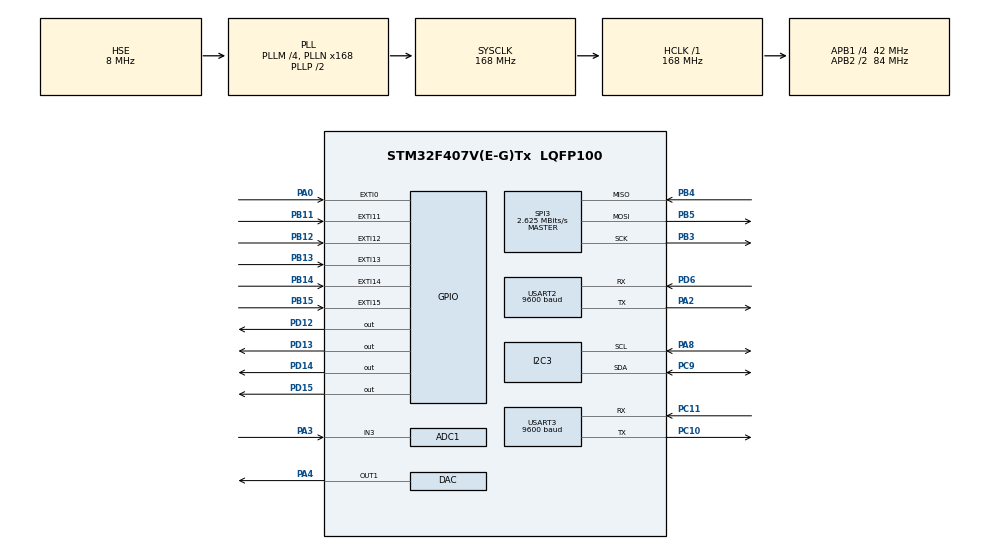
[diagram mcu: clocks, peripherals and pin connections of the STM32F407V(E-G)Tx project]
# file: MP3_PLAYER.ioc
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ADC1.Channel-0\#ChannelRegularConversion=ADC_CHANNEL_3
ADC1.NbrOfConversionFlag=1
ADC1.Rank-0\#ChannelRegularConversion=1
ADC1.SamplingTime-0\#ChannelRegularConversion=ADC_SAMPLETIME_3CYCLES
ADC1.master=1
DAC.DAC_Trigger=DAC_TRIGGER_T6_TRGO
Dma.DAC1.0.Direction=DMA_MEMORY_TO_PERIPH
Dma.DAC1.0.FIFOMode=DMA_FIFOMODE_DISABLE
Dma.DAC1.0.Instance=DMA1_Stream5
Dma.DAC1.0.MemDataAlignment=DMA_MDATAALIGN_BYTE
Dma.DAC1.0.MemInc=DMA_MINC_ENABLE
Dma.DAC1.0.Mode=DMA_CIRCULAR
Dma.DAC1.0.PeriphDataAlignment=DMA_PDATAALIGN_BYTE
Dma.DAC1.0.PeriphInc=DMA_PINC_DISABLE
Dma.DAC1.0.Priority=DMA_PRIORITY_LOW
Dma.Request0=DAC1
I2C3.NoStretchMode=I2C_NOSTRETCH_DISABLE
Mcu.Family=STM32F4
Mcu.Name=STM32F407V(E-G)Tx
Mcu.Package=LQFP100
NVIC.ADC_IRQn=true\:1\:0\:true\:false\:true\:true\:true
NVIC.DMA1_Stream5_IRQn=true\:0\:0\:false\:false\:true\:false\:true
NVIC.EXTI0_IRQn=true\:1\:0\:true\:false\:true\:true\:true
NVIC.EXTI15_10_IRQn=true\:1\:0\:true\:false\:true\:true\:true
NVIC.I2C3_ER_IRQn=true\:0\:0\:false\:false\:true\:true\:true
NVIC.I2C3_EV_IRQn=true\:0\:0\:false\:false\:true\:true\:true
NVIC.PVD_IRQn=true\:0\:0\:false\:false\:true\:true\:true
NVIC.PriorityGroup=NVIC_PRIORITYGROUP_4
NVIC.SPI3_IRQn=true\:0\:0\:false\:false\:true\:true\:true
NVIC.TIM4_IRQn=true\:0\:0\:false\:false\:true\:true\:true
NVIC.TIM6_DAC_IRQn=true\:0\:0\:false\:false\:true\:true\:true
NVIC.USART2_IRQn=true\:1\:0\:true\:false\:true\:true\:true
PA0-WKUP.GPIO_PuPd=GPIO_PULLDOWN
PA0-WKUP.Signal=GPXTI0
PA13.Mode=Serial_Wire
PA13.Signal=SYS_JTMS-SWDIO
PA14.Mode=Serial_Wire
PA14.Signal=SYS_JTCK-SWCLK
PA2.Mode=Asynchronous
PA2.Signal=USART2_TX
PA3.Signal=ADCx_IN3
PA4.Signal=COMP_DAC1_group
PA8.Mode=I2C
PA8.Signal=I2C3_SCL
PB11.GPIO_ModeDefaultEXTI=GPIO_MODE_IT_RISING_FALLING
PB11.GPIO_PuPd=GPIO_PULLUP
PB11.Signal=GPXTI11
PB12.GPIO_ModeDefaultEXTI=GPIO_MODE_IT_RISING_FALLING
PB12.GPIO_PuPd=GPIO_PULLUP
PB12.Signal=GPXTI12
PB13.GPIO_ModeDefaultEXTI=GPIO_MODE_IT_RISING_FALLING
PB13.GPIO_PuPd=GPIO_PULLUP
PB13.Signal=GPXTI13
PB14.GPIO_ModeDefaultEXTI=GPIO_MODE_IT_RISING_FALLING
PB14.GPIO_PuPd=GPIO_PULLUP
PB14.Signal=GPXTI14
PB15.GPIO_ModeDefaultEXTI=GPIO_MODE_IT_RISING_FALLING
PB15.GPIO_PuPd=GPIO_PULLUP
PB15.Signal=GPXTI15
PB3.Mode=Full_Duplex_Master
PB3.Signal=SPI3_SCK
PB4.Mode=Full_Duplex_Master
PB4.Signal=SPI3_MISO
PB5.Mode=Full_Duplex_Master
PB5.Signal=SPI3_MOSI
PC10.Mode=Asynchronous
PC10.Signal=USART3_TX
PC11.Mode=Asynchronous
PC11.Signal=USART3_RX
PC9.Mode=I2C
PC9.Signal=I2C3_SDA
PD12.Signal=GPIO_Output
PD13.Signal=GPIO_Output
PD14.Signal=GPIO_Output
PD15.Signal=GPIO_Output
PD6.Mode=Asynchronous
PD6.Signal=USART2_RX
PH0-OSC_IN.Mode=HSE-External-Oscillator
PH0-OSC_IN.Signal=RCC_OSC_IN
PH1-OSC_OUT.Mode=HSE-External-Oscillator
PH1-OSC_OUT.Signal=RCC_OSC_OUT
ProjectManager.HeapSize=0x200
ProjectManager.StackSize=0x400
ProjectManager.TargetToolchain=STM32CubeIDE
RCC.48MHZClocksFreq_Value=84000000
RCC.AHBFreq_Value=168000000
RCC.APB1CLKDivider=RCC_HCLK_DIV4
RCC.APB1Freq_Value=42000000
RCC.APB1TimFreq_Value=84000000
RCC.APB2CLKDivider=RCC_HCLK_DIV2
RCC.APB2Freq_Value=84000000
RCC.APB2TimFreq_Value=168000000
RCC.CortexFreq_Value=168000000
RCC.HCLKFreq_Value=168000000
RCC.HSE_VALUE=8000000
RCC.HSI_VALUE=16000000
RCC.LSE_VALUE=32768
RCC.PLLM=4
RCC.PLLN=168
RCC.PLLSourceVirtual=RCC_PLLSOURCE_HSE
RCC.SYSCLKFreq_VALUE=168000000
RCC.SYSCLKSource=RCC_SYSCLKSOURCE_PLLCLK
RCC.VCOOutputFreq_Value=336000000
SH.ADCx_IN3.0=ADC1_IN3,IN3
SH.COMP_DAC1_group.0=DAC_OUT1,DAC_OUT1
SPI3.BaudRatePrescaler=SPI_BAUDRATEPRESCALER_16
SPI3.CalculateBaudRate=2.625 MBits/s
SPI3.Direction=SPI_DIRECTION_2LINES
SPI3.Mode=SPI_MODE_MASTER
SPI3.VirtualType=VM_MASTER
TIM4.Period=126
TIM4.Prescaler=14
TIM6.Period=126
TIM6.Prescaler=14
TIM6.TIM_MasterOutputTrigger=TIM_TRGO_UPDATE
USART2.BaudRate=9600
USART2.VirtualMode=VM_ASYNC
USART3.BaudRate=9600
USART3.VirtualMode=VM_ASYNC
VP_TIM4_VS_ClockSourceINT.Mode=Internal
VP_TIM6_VS_ClockSourceINT.Mode=Enable_Timer
board=custom

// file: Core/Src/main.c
/* USER CODE BEGIN Header */
/**
  ******************************************************************************
  * @file           : main.c
  * @brief          : Main program body
  ******************************************************************************
  * @attention
  *
  * <h2><center>&copy; Copyright (c) 2020 STMicroelectronics.
  * All rights reserved.</center></h2>
  *
  * This software component is licensed by ST under BSD 3-Clause license,
  * the "License"; You may not use this file except in compliance with the
  * License. You may obtain a copy of the License at:
  *                        opensource.org/licenses/BSD-3-Clause
  *
  ******************************************************************************
  */
/* USER CODE END Header */

#include "main.h"

/* USER CODE BEGIN Includes */
#include "string.h"
#include <stdio.h>
#include"ff.h"
#include "lcd.h"
#include "lcdcommands.h"
#include "lcdchars.h"

#include "stdbool.h"

/* USER CODE END Includes */

ADC_HandleTypeDef hadc1;

DAC_HandleTypeDef hdac;
DMA_HandleTypeDef hdma_dac1;

I2C_HandleTypeDef hi2c3;

SPI_HandleTypeDef hspi3;

TIM_HandleTypeDef htim4;
TIM_HandleTypeDef htim6;

UART_HandleTypeDef huart2;
UART_HandleTypeDef huart3;

/* USER CODE BEGIN PV */

static FATFS FatFs;    //uchwyt do urządzenia FatFs (dysku, karty SD...)
FRESULT fresult;  //do przechowywania wyniku operacji na bibliotece

volatile FIL file;
WORD bytes_written;

WORD bytes_read;           //liczba odczytanych byte

uint8_t sendUART[2] = {65, 'B'};
uint16_t sizeSendUART = 2;
uint8_t receiveUART[1];
uint16_t sizeReceiveUART = 1;
int i=0;
int j=-1;
uint8_t indeks_glosnosci = 0;
double glosnosc_guziczki [10] = {0,0.25,0.5,1,2,4,8,10,15,20};
uint16_t value = 0;
DIR dir;

uint8_t eof;
char utwor[20];

char buff[256];
int stan = 1; //0 pauza 1 start

uint16_t nr_utworu=0;

volatile uint8_t buf[100000];
volatile uint8_t buf2[22047];
uint8_t aktualny_bufor = 0;

/* USER CODE END PV */

void SystemClock_Config(void);
static void MX_DMA_Init(void);
static void MX_ADC1_Init(void);
static void MX_DAC_Init(void);
static void MX_SPI3_Init(void);
static void MX_USART3_UART_Init(void);
static void MX_TIM6_Init(void);
static void MX_TIM4_Init(void);
static void MX_I2C3_Init(void);
static void MX_USART2_UART_Init(void);
/* USER CODE BEGIN PFP */

void read_song(){

FRESULT res;
    DIR dir;
    UINT i=0;
    UINT z;

    static FILINFO fno;

		res = f_opendir(&dir, "/");
    	if (res == FR_OK) {
  	  	  	do{
            		res = f_readdir(&dir, &fno);
            		if (res != FR_OK || fno.fname[0] == 0) {i=1; break;}
            		printf("%s\n", fno.fname);
                	z = strlen(fno.fname);
                	i++;
            	}
            	while(i<=nr_utworu || (fno.fname[z-1]!='V') || (fno.fname[z-2]!='A')|| (fno.fname[z-3]!='W'));
  	  	  		sprintf(utwor,"%s",fno.fname);
  	  	  		nr_utworu=i-1;
  	  	  		if(nr_utworu==0)read_song();
            	}

               	return;
}

void next(){
	HAL_TIM_Base_Stop_IT(&htim4);
	f_close(&file);
	nr_utworu++;
	read_song();
	fresult = f_open(&file, &utwor , FA_READ|FA_OPEN_EXISTING);
	f_read(&file, &buf, 22047, &bytes_read);
	i=0;
	j=0;
	 HAL_TIM_Base_Start_IT(&htim4);
}

void prev(){
	HAL_TIM_Base_Stop_IT(&htim4);
	f_close(&file);
	nr_utworu--;
	read_song();
	fresult = f_open(&file, &utwor , FA_READ|FA_OPEN_EXISTING);
	f_read(&file, &buf, 22047, &bytes_read);
	i=0;
	j=0;
	HAL_TIM_Base_Start_IT(&htim4);
}

void HAL_ADC_ConvCpltCallback(ADC_HandleTypeDef* hadc){

		  		  value = HAL_ADC_GetValue(&hadc1);

//za pierwszym ustawieniem potencjometru działa ale potem się nie zmienia
		  	  if(value>0 && value <= 410) indeks_glosnosci = 0;
		  	  else if(value>410 && value <= 819) indeks_glosnosci = 1;
		  	  else if(value>819 && value <= 1228) indeks_glosnosci = 2;
		  	else if(value>1228 && value <= 1647) indeks_glosnosci = 3;
		  	else if(value>1647 && value <= 2058) indeks_glosnosci = 4;
		  	else if(value>2058 && value <= 2467) indeks_glosnosci = 5;
		  	else if(value>2467 && value <= 2876) indeks_glosnosci = 6;
		  	else if(value>2876 && value <= 3285) indeks_glosnosci = 7;
		  	else if(value>3285 && value <= 3692) indeks_glosnosci = 8;
		  	else if(value>3692 && value <= 4095) indeks_glosnosci = 9;
		  	HAL_ADC_Start_IT(&hadc1);
}

void HAL_GPIO_EXTI_Callback(uint16_t GPIO_Pin){

	 if(HAL_GPIO_ReadPin(GPIOB, GPIO_PIN_11) == GPIO_PIN_RESET){

		 //ciszej

		 if(indeks_glosnosci>0 && indeks_glosnosci<=9) indeks_glosnosci--;

		  	}

	 if(HAL_GPIO_ReadPin(GPIOB, GPIO_PIN_12) == GPIO_PIN_RESET){
			  		//prev song
		prev();

			}
	 if(HAL_GPIO_ReadPin(GPIOB, GPIO_PIN_13) == GPIO_PIN_RESET){

		 //pause/start

		 if(stan==1){

		HAL_DAC_Start_DMA(&hdac, DAC_CHANNEL_1, &buf, 100000, DAC_ALIGN_12B_R);
		HAL_TIM_Base_Start(&htim6);
		 //HAL_TIM_Base_Start_IT(&htim4);
		 //HAL_TIM_Base_Start_IT(&htim7);
		 stan = 0;
		 }
		 else
		 {
			 HAL_TIM_Base_Stop_IT(&htim4);
			 stan=1;
		 }

	 		}
	 if(HAL_GPIO_ReadPin(GPIOB, GPIO_PIN_14) == GPIO_PIN_RESET){
		 	next();

		 	}
	 if(HAL_GPIO_ReadPin(GPIOB, GPIO_PIN_15) == GPIO_PIN_RESET){

		 //glosniej

		 if(indeks_glosnosci>=0 && indeks_glosnosci<9)
			 indeks_glosnosci++;
			 	}
	 HAL_Delay(200);

}

void HAL_TIM_PeriodElapsedCallback(TIM_HandleTypeDef *htim){
	if(htim->Instance == TIM4)
	{
		eof=f_eof(&file);
		if(eof ==0) f_read(&file, &buf,2048, &bytes_read);
		else {next();}

		/*if(aktualny_bufor==0){
			HAL_DAC_SetValue(&hdac,DAC_CHANNEL_1,DAC_ALIGN_12B_R,buf[i]);
			//eof=f_eof(&file);
		//	if(eof ==0) f_read(&file, &buf2[i],1, &bytes_read);
			//else {next();}
			i++;
			if(i==22047){
				aktualny_bufor = 1;
				j=0;
				//HAL_TIM_Base_Start_IT(&htim7);*glosnosc_guziczki[indeks_glosnosci]
				}
			}

	if(aktualny_bufor==1){
		HAL_DAC_SetValue(&hdac,DAC_CHANNEL_1,DAC_ALIGN_12B_R,buf2[j]);
	//	eof=f_eof(&file);
	//	if(eof ==0) f_read(&file, &buf[j],1, &bytes_read);
	//	else {next();}
		j++;
		if(j==22047){
			aktualny_bufor = 0;
			i=0;
			//HAL_TIM_Base_Start_IT(&htim7);
			}
		}*/

  }

}

void HAL_UART_RxCpltCallback(UART_HandleTypeDef*huart)
	{
		if(huart->Instance == USART2)
			{

			HAL_UART_Receive_IT(&huart2, receiveUART, sizeReceiveUART);
			if(receiveUART[0]==79){
				HAL_GPIO_TogglePin(GPIOD, GPIO_PIN_13);
			}
			}
	}

/* USER CODE END PFP */

int main(void)
{

  /* MCU Configuration--------------------------------------------------------*/

  /* Reset of all peripherals, Initializes the Flash interface and the Systick. */
  HAL_Init();

  /* Configure the system clock */
  SystemClock_Config();

  /* Initialize all configured peripherals */
  MX_DMA_Init();
  MX_ADC1_Init();
  MX_DAC_Init();
  MX_SPI3_Init();
  MX_USART3_UART_Init();
  MX_TIM6_Init();
  MX_TIM4_Init();
  MX_I2C3_Init();
  MX_USART2_UART_Init();
  /* USER CODE BEGIN 2 */

  //HAL_DAC_Start(&hdac,DAC_CHANNEL_1);
  HAL_ADC_Start_IT(&hadc1);

  HAL_UART_Transmit_IT(&huart2, sendUART, sizeSendUART);

  	  fresult = f_mount(&FatFs, "", 1);
      read_song();
      fresult = f_open(&file, &utwor , FA_READ|FA_OPEN_EXISTING|FA_OPEN_ALWAYS);

      //f_read(&file, &buf, 62000, &bytes_read);
      //f_read(&file, &buf2,62000, &bytes_read);

      f_read(&file, &buf, 100000, &bytes_read);
    //  f_read(&file, &buf2,22047, &bytes_read);

      lcd_init();
    //  lcd_send_string("Hello");
  /* USER CODE END 2 */

  /* Infinite loop */
  /* USER CODE BEGIN WHILE */
      while (1)
  {

    lcd_send_string("Hello");
    //lcd_send_cmd(0x80 | 0x03);
    lcd_send_string("Space Invaders");
    /* USER CODE END WHILE */

  }
}

void SystemClock_Config(void)
{
  RCC_OscInitTypeDef RCC_OscInitStruct = {0};
  RCC_ClkInitTypeDef RCC_ClkInitStruct = {0};

  /** Configure the main internal regulator output voltage
  */
  __HAL_RCC_PWR_CLK_ENABLE();
  __HAL_PWR_VOLTAGESCALING_CONFIG(PWR_REGULATOR_VOLTAGE_SCALE1);
  /** Initializes the CPU, AHB and APB busses clocks
  */
  RCC_OscInitStruct.OscillatorType = RCC_OSCILLATORTYPE_HSE;
  RCC_OscInitStruct.HSEState = RCC_HSE_ON;
  RCC_OscInitStruct.PLL.PLLState = RCC_PLL_ON;
  RCC_OscInitStruct.PLL.PLLSource = RCC_PLLSOURCE_HSE;
  RCC_OscInitStruct.PLL.PLLM = 4;
  RCC_OscInitStruct.PLL.PLLN = 168;
  RCC_OscInitStruct.PLL.PLLP = RCC_PLLP_DIV2;
  RCC_OscInitStruct.PLL.PLLQ = 4;
  if (HAL_RCC_OscConfig(&RCC_OscInitStruct) != HAL_OK)
  {
    Error_Handler();
  }
  /** Initializes the CPU, AHB and APB busses clocks
  */
  RCC_ClkInitStruct.ClockType = RCC_CLOCKTYPE_HCLK|RCC_CLOCKTYPE_SYSCLK
                              |RCC_CLOCKTYPE_PCLK1|RCC_CLOCKTYPE_PCLK2;
  RCC_ClkInitStruct.SYSCLKSource = RCC_SYSCLKSOURCE_PLLCLK;
  RCC_ClkInitStruct.AHBCLKDivider = RCC_SYSCLK_DIV1;
  RCC_ClkInitStruct.APB1CLKDivider = RCC_HCLK_DIV4;
  RCC_ClkInitStruct.APB2CLKDivider = RCC_HCLK_DIV2;

  if (HAL_RCC_ClockConfig(&RCC_ClkInitStruct, FLASH_LATENCY_5) != HAL_OK)
  {
    Error_Handler();
  }
}

static void MX_ADC1_Init(void)
{

  ADC_ChannelConfTypeDef sConfig = {0};

  /** Configure the global features of the ADC (Clock, Resolution, Data Alignment and number of conversion)
  */
  hadc1.Instance = ADC1;
  hadc1.Init.ClockPrescaler = ADC_CLOCK_SYNC_PCLK_DIV4;
  hadc1.Init.Resolution = ADC_RESOLUTION_12B;
  hadc1.Init.ScanConvMode = DISABLE;
  hadc1.Init.ContinuousConvMode = DISABLE;
  hadc1.Init.DiscontinuousConvMode = DISABLE;
  hadc1.Init.ExternalTrigConvEdge = ADC_EXTERNALTRIGCONVEDGE_NONE;
  hadc1.Init.ExternalTrigConv = ADC_SOFTWARE_START;
  hadc1.Init.DataAlign = ADC_DATAALIGN_RIGHT;
  hadc1.Init.NbrOfConversion = 1;
  hadc1.Init.DMAContinuousRequests = DISABLE;
  hadc1.Init.EOCSelection = ADC_EOC_SINGLE_CONV;
  if (HAL_ADC_Init(&hadc1) != HAL_OK)
  {
    Error_Handler();
  }
  /** Configure for the selected ADC regular channel its corresponding rank in the sequencer and its sample time.
  */
  sConfig.Channel = ADC_CHANNEL_3;
  sConfig.Rank = 1;
  sConfig.SamplingTime = ADC_SAMPLETIME_3CYCLES;
  if (HAL_ADC_ConfigChannel(&hadc1, &sConfig) != HAL_OK)
  {
    Error_Handler();
  }

}

static void MX_DAC_Init(void)
{

  DAC_ChannelConfTypeDef sConfig = {0};

  /** DAC Initialization
  */
  hdac.Instance = DAC;
  if (HAL_DAC_Init(&hdac) != HAL_OK)
  {
    Error_Handler();
  }
  /** DAC channel OUT1 config
  */
  sConfig.DAC_Trigger = DAC_TRIGGER_T6_TRGO;
  sConfig.DAC_OutputBuffer = DAC_OUTPUTBUFFER_ENABLE;
  if (HAL_DAC_ConfigChannel(&hdac, &sConfig, DAC_CHANNEL_1) != HAL_OK)
  {
    Error_Handler();
  }

}

static void MX_I2C3_Init(void)
{

  hi2c3.Instance = I2C3;
  hi2c3.Init.ClockSpeed = 100000;
  hi2c3.Init.DutyCycle = I2C_DUTYCYCLE_2;
  hi2c3.Init.OwnAddress1 = 0;
  hi2c3.Init.AddressingMode = I2C_ADDRESSINGMODE_7BIT;
  hi2c3.Init.DualAddressMode = I2C_DUALADDRESS_DISABLE;
  hi2c3.Init.OwnAddress2 = 0;
  hi2c3.Init.GeneralCallMode = I2C_GENERALCALL_DISABLE;
  hi2c3.Init.NoStretchMode = I2C_NOSTRETCH_DISABLE;
  if (HAL_I2C_Init(&hi2c3) != HAL_OK)
  {
    Error_Handler();
  }

}

static void MX_SPI3_Init(void)
{

  /* SPI3 parameter configuration*/
  hspi3.Instance = SPI3;
  hspi3.Init.Mode = SPI_MODE_MASTER;
  hspi3.Init.Direction = SPI_DIRECTION_2LINES;
  hspi3.Init.DataSize = SPI_DATASIZE_8BIT;
  hspi3.Init.CLKPolarity = SPI_POLARITY_LOW;
  hspi3.Init.CLKPhase = SPI_PHASE_1EDGE;
  hspi3.Init.NSS = SPI_NSS_SOFT;
  hspi3.Init.BaudRatePrescaler = SPI_BAUDRATEPRESCALER_16;
  hspi3.Init.FirstBit = SPI_FIRSTBIT_MSB;
  hspi3.Init.TIMode = SPI_TIMODE_DISABLE;
  hspi3.Init.CRCCalculation = SPI_CRCCALCULATION_DISABLE;
  hspi3.Init.CRCPolynomial = 10;
  if (HAL_SPI_Init(&hspi3) != HAL_OK)
  {
    Error_Handler();
  }

}

static void MX_TIM4_Init(void)
{

  TIM_ClockConfigTypeDef sClockSourceConfig = {0};
  TIM_MasterConfigTypeDef sMasterConfig = {0};

  htim4.Instance = TIM4;
  htim4.Init.Prescaler = 14;
  htim4.Init.CounterMode = TIM_COUNTERMODE_UP;
  htim4.Init.Period = 126;
  htim4.Init.ClockDivision = TIM_CLOCKDIVISION_DIV1;
  htim4.Init.AutoReloadPreload = TIM_AUTORELOAD_PRELOAD_DISABLE;
  if (HAL_TIM_Base_Init(&htim4) != HAL_OK)
  {
    Error_Handler();
  }
  sClockSourceConfig.ClockSource = TIM_CLOCKSOURCE_INTERNAL;
  if (HAL_TIM_ConfigClockSource(&htim4, &sClockSourceConfig) != HAL_OK)
  {
    Error_Handler();
  }
  sMasterConfig.MasterOutputTrigger = TIM_TRGO_RESET;
  sMasterConfig.MasterSlaveMode = TIM_MASTERSLAVEMODE_DISABLE;
  if (HAL_TIMEx_MasterConfigSynchronization(&htim4, &sMasterConfig) != HAL_OK)
  {
    Error_Handler();
  }

}

static void MX_TIM6_Init(void)
{

  TIM_MasterConfigTypeDef sMasterConfig = {0};

  htim6.Instance = TIM6;
  htim6.Init.Prescaler = 14;
  htim6.Init.CounterMode = TIM_COUNTERMODE_UP;
  htim6.Init.Period = 126;
  htim6.Init.AutoReloadPreload = TIM_AUTORELOAD_PRELOAD_DISABLE;
  if (HAL_TIM_Base_Init(&htim6) != HAL_OK)
  {
    Error_Handler();
  }
  sMasterConfig.MasterOutputTrigger = TIM_TRGO_UPDATE;
  sMasterConfig.MasterSlaveMode = TIM_MASTERSLAVEMODE_DISABLE;
  if (HAL_TIMEx_MasterConfigSynchronization(&htim6, &sMasterConfig) != HAL_OK)
  {
    Error_Handler();
  }

}

static void MX_USART2_UART_Init(void)
{

  huart2.Instance = USART2;
  huart2.Init.BaudRate = 9600;
  huart2.Init.WordLength = UART_WORDLENGTH_8B;
  huart2.Init.StopBits = UART_STOPBITS_1;
  huart2.Init.Parity = UART_PARITY_NONE;
  huart2.Init.Mode = UART_MODE_TX_RX;
  huart2.Init.HwFlowCtl = UART_HWCONTROL_NONE;
  huart2.Init.OverSampling = UART_OVERSAMPLING_16;
  if (HAL_UART_Init(&huart2) != HAL_OK)
  {
    Error_Handler();
  }

}

static void MX_USART3_UART_Init(void)
{

  huart3.Instance = USART3;
  huart3.Init.BaudRate = 9600;
  huart3.Init.WordLength = UART_WORDLENGTH_8B;
  huart3.Init.StopBits = UART_STOPBITS_1;
  huart3.Init.Parity = UART_PARITY_NONE;
  huart3.Init.Mode = UART_MODE_TX_RX;
  huart3.Init.HwFlowCtl = UART_HWCONTROL_NONE;
  huart3.Init.OverSampling = UART_OVERSAMPLING_16;
  if (HAL_UART_Init(&huart3) != HAL_OK)
  {
    Error_Handler();
  }

}

static void MX_DMA_Init(void)
{

  /* DMA controller clock enable */
  __HAL_RCC_DMA1_CLK_ENABLE();

  /* DMA interrupt init */
  /* DMA1_Stream5_IRQn interrupt configuration */
  HAL_NVIC_SetPriority(DMA1_Stream5_IRQn, 0, 0);
  HAL_NVIC_EnableIRQ(DMA1_Stream5_IRQn);

}

{
  GPIO_InitTypeDef GPIO_InitStruct = {0};

  /* GPIO Ports Clock Enable */
  __HAL_RCC_GPIOH_CLK_ENABLE();
  __HAL_RCC_GPIOA_CLK_ENABLE();
  __HAL_RCC_GPIOB_CLK_ENABLE();
  __HAL_RCC_GPIOD_CLK_ENABLE();
  __HAL_RCC_GPIOC_CLK_ENABLE();

  /*Configure GPIO pin Output Level */
  HAL_GPIO_WritePin(GPIOD, GPIO_PIN_12|GPIO_PIN_13|GPIO_PIN_14|GPIO_PIN_15, GPIO_PIN_RESET);

  /*Configure GPIO pin : PA0 */
  GPIO_InitStruct.Pin = GPIO_PIN_0;
  GPIO_InitStruct.Mode = GPIO_MODE_IT_RISING;
  GPIO_InitStruct.Pull = GPIO_PULLDOWN;
  HAL_GPIO_Init(GPIOA, &GPIO_InitStruct);

  /*Configure GPIO pins : PB11 PB12 PB13 PB14
                           PB15 */
  GPIO_InitStruct.Pin = GPIO_PIN_11|GPIO_PIN_12|GPIO_PIN_13|GPIO_PIN_14
                          |GPIO_PIN_15;
  GPIO_InitStruct.Mode = GPIO_MODE_IT_RISING_FALLING;
  GPIO_InitStruct.Pull = GPIO_PULLUP;
  HAL_GPIO_Init(GPIOB, &GPIO_InitStruct);

  /*Configure GPIO pins : PD12 PD13 PD14 PD15 */
  GPIO_InitStruct.Pin = GPIO_PIN_12|GPIO_PIN_13|GPIO_PIN_14|GPIO_PIN_15;
  GPIO_InitStruct.Mode = GPIO_MODE_OUTPUT_PP;
  GPIO_InitStruct.Pull = GPIO_NOPULL;
  GPIO_InitStruct.Speed = GPIO_SPEED_FREQ_LOW;
  HAL_GPIO_Init(GPIOD, &GPIO_InitStruct);

  /* EXTI interrupt init*/
  HAL_NVIC_SetPriority(EXTI0_IRQn, 1, 0);
  HAL_NVIC_EnableIRQ(EXTI0_IRQn);

  HAL_NVIC_SetPriority(EXTI15_10_IRQn, 1, 0);
  HAL_NVIC_EnableIRQ(EXTI15_10_IRQn);

}

void Error_Handler(void)
{
}

/************************ (C) COPYRIGHT STMicroelectronics *****END OF FILE****/
